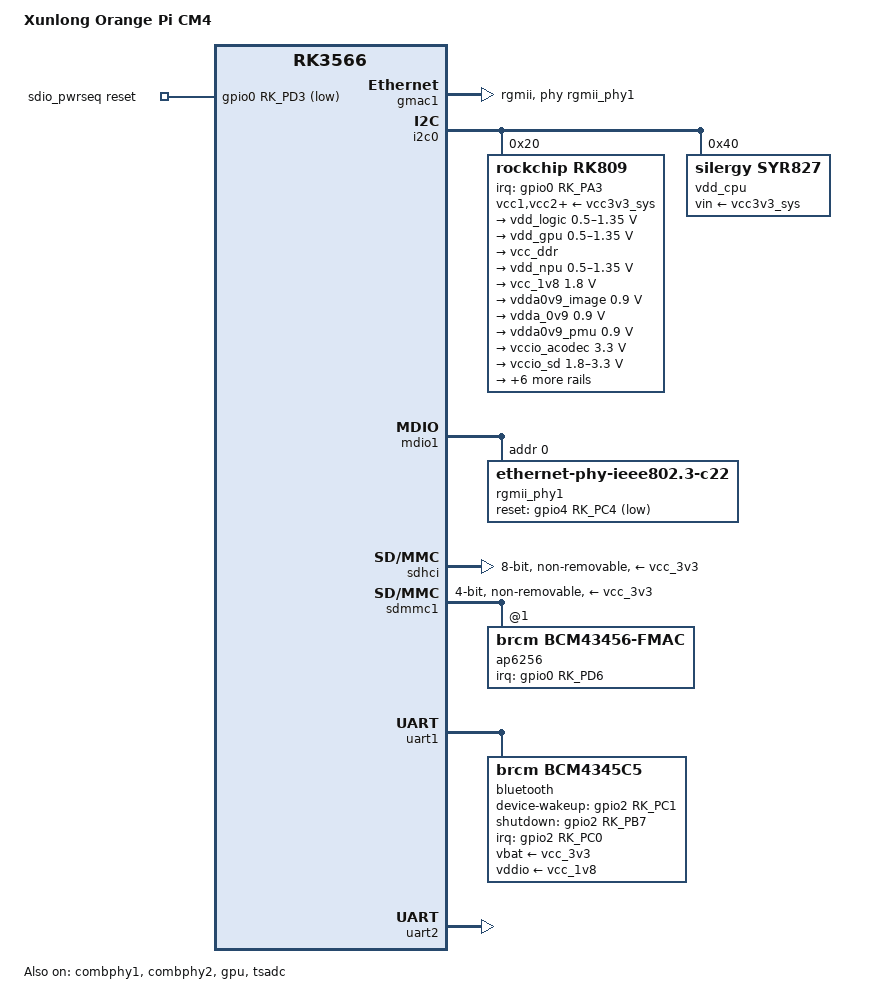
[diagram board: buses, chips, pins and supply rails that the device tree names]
// SPDX-License-Identifier: (GPL-2.0+ OR MIT)

/dts-v1/;

#include <dt-bindings/gpio/gpio.h>
#include <dt-bindings/pinctrl/rockchip.h>
#include "rk3566.dtsi"

/ {
	model = "Xunlong Orange Pi CM4";
	compatible = "xunlong,orangepi-cm4", "rockchip,rk3566";

	aliases {
		ethernet0 = &gmac1;
		mmc0 = &sdhci;
	};

	chosen {
		stdout-path = "serial2:1500000n8";
	};

	sdio_pwrseq: sdio-pwrseq {
		compatible = "mmc-pwrseq-simple";
		clocks = <&rk809 1>;
		clock-names = "ext_clock";
		pinctrl-names = "default";
		pinctrl-0 = <&wifi_reg_on>;
		post-power-on-delay-ms = <200>;
		power-off-delay-us = <20000>;
		reset-gpios = <&gpio0 RK_PD3 GPIO_ACTIVE_LOW>;
	};
};

&combphy1 {
	status = "okay";
};

&combphy2 {
	status = "okay";
};

&cpu0 {
	cpu-supply = <&vdd_cpu>;
};

&cpu1 {
	cpu-supply = <&vdd_cpu>;
};

&cpu2 {
	cpu-supply = <&vdd_cpu>;
};

&cpu3 {
	cpu-supply = <&vdd_cpu>;
};

&gmac1 {
	assigned-clocks = <&cru SCLK_GMAC1_RX_TX>, <&cru SCLK_GMAC1>;
	assigned-clock-parents = <&cru SCLK_GMAC1_RGMII_SPEED>, <&cru CLK_MAC1_2TOP>;
	clock_in_out = "input";
	phy-handle = <&rgmii_phy1>;
	phy-mode = "rgmii";
	pinctrl-names = "default";
	pinctrl-0 = <&gmac1m0_miim
		     &gmac1m0_clkinout
		     &gmac1m0_rx_bus2
		     &gmac1m0_tx_bus2
		     &gmac1m0_rgmii_clk
		     &gmac1m0_rgmii_bus>;
	tx_delay = <0x30>;
	rx_delay = <0x10>;
};

&gpu {
	mali-supply = <&vdd_gpu>;
	status = "okay";
};

&i2c0 {
	status = "okay";

	rk809: pmic@20 {
		compatible = "rockchip,rk809";
		reg = <0x20>;
		assigned-clocks = <&cru I2S1_MCLKOUT_TX>;
		assigned-clock-parents = <&cru CLK_I2S1_8CH_TX>;
		#clock-cells = <1>;
		clocks = <&cru I2S1_MCLKOUT_TX>;
		clock-names = "mclk";
		clock-output-names = "rk809-clkout1", "rk809-clkout2";
		interrupt-parent = <&gpio0>;
		interrupts = <RK_PA3 IRQ_TYPE_LEVEL_LOW>;
		pinctrl-names = "default";
		pinctrl-0 = <&pmic_int_l>, <&i2s1m0_mclk>;
		#sound-dai-cells = <0>;
		system-power-controller;
		wakeup-source;

		vcc1-supply = <&vcc3v3_sys>;
		vcc2-supply = <&vcc3v3_sys>;
		vcc3-supply = <&vcc3v3_sys>;
		vcc4-supply = <&vcc3v3_sys>;
		vcc5-supply = <&vcc3v3_sys>;
		vcc6-supply = <&vcc3v3_sys>;
		vcc7-supply = <&vcc3v3_sys>;
		vcc8-supply = <&vcc3v3_sys>;
		vcc9-supply = <&vcc3v3_sys>;

		regulators {
			vdd_logic: DCDC_REG1 {
				regulator-name = "vdd_logic";
				regulator-always-on;
				regulator-boot-on;
				regulator-initial-mode = <0x2>;
				regulator-min-microvolt = <500000>;
				regulator-max-microvolt = <1350000>;
				regulator-ramp-delay = <6001>;

				regulator-state-mem {
					regulator-off-in-suspend;
				};
			};

			vdd_gpu: DCDC_REG2 {
				regulator-name = "vdd_gpu";
				regulator-always-on;
				regulator-boot-on;
				regulator-initial-mode = <0x2>;
				regulator-min-microvolt = <500000>;
				regulator-max-microvolt = <1350000>;
				regulator-ramp-delay = <6001>;

				regulator-state-mem {
					regulator-off-in-suspend;
				};
			};

			vcc_ddr: DCDC_REG3 {
				regulator-name = "vcc_ddr";
				regulator-always-on;
				regulator-boot-on;
				regulator-initial-mode = <0x2>;

				regulator-state-mem {
					regulator-on-in-suspend;
				};
			};

			vdd_npu: DCDC_REG4 {
				regulator-name = "vdd_npu";
				regulator-initial-mode = <0x2>;
				regulator-min-microvolt = <500000>;
				regulator-max-microvolt = <1350000>;
				regulator-ramp-delay = <6001>;

				regulator-state-mem {
					regulator-off-in-suspend;
				};
			};

			vcc_1v8: DCDC_REG5 {
				regulator-name = "vcc_1v8";
				regulator-always-on;
				regulator-boot-on;
				regulator-min-microvolt = <1800000>;
				regulator-max-microvolt = <1800000>;

				regulator-state-mem {
					regulator-off-in-suspend;
				};
			};

			vdda0v9_image: LDO_REG1 {
				regulator-name = "vdda0v9_image";
				regulator-min-microvolt = <900000>;
				regulator-max-microvolt = <900000>;

				regulator-state-mem {
					regulator-off-in-suspend;
				};
			};

			vdda_0v9: LDO_REG2 {
				regulator-name = "vdda_0v9";
				regulator-always-on;
				regulator-boot-on;
				regulator-min-microvolt = <900000>;
				regulator-max-microvolt = <900000>;

				regulator-state-mem {
					regulator-off-in-suspend;
				};
			};

			vdda0v9_pmu: LDO_REG3 {
				regulator-name = "vdda0v9_pmu";
				regulator-always-on;
				regulator-boot-on;
				regulator-min-microvolt = <900000>;
				regulator-max-microvolt = <900000>;

				regulator-state-mem {
					regulator-on-in-suspend;
					regulator-suspend-microvolt = <900000>;
				};
			};

			vccio_acodec: LDO_REG4 {
				regulator-name = "vccio_acodec";
				regulator-always-on;
				regulator-boot-on;
				regulator-min-microvolt = <3300000>;
				regulator-max-microvolt = <3300000>;

				regulator-state-mem {
					regulator-off-in-suspend;
				};
			};

			vccio_sd: LDO_REG5 {
				regulator-name = "vccio_sd";
				regulator-always-on;
				regulator-boot-on;
				regulator-min-microvolt = <1800000>;
				regulator-max-microvolt = <3300000>;

				regulator-state-mem {
					regulator-off-in-suspend;
				};
			};

			vcc3v3_pmu: LDO_REG6 {
				regulator-name = "vcc3v3_pmu";
				regulator-always-on;
				regulator-boot-on;
				regulator-min-microvolt = <3300000>;
				regulator-max-microvolt = <3300000>;

				regulator-state-mem {
					regulator-on-in-suspend;
					regulator-suspend-microvolt = <3300000>;
				};
			};

			vcca_1v8: LDO_REG7 {
				regulator-name = "vcca_1v8";
				regulator-always-on;
				regulator-boot-on;
				regulator-min-microvolt = <1800000>;
				regulator-max-microvolt = <1800000>;

				regulator-state-mem {
					regulator-off-in-suspend;
				};
			};

			vcca1v8_pmu: LDO_REG8 {
				regulator-name = "vcca1v8_pmu";
				regulator-always-on;
				regulator-boot-on;
				regulator-min-microvolt = <1800000>;
				regulator-max-microvolt = <1800000>;

				regulator-state-mem {
					regulator-on-in-suspend;
					regulator-suspend-microvolt = <1800000>;
				};
			};

			vcca1v8_image: LDO_REG9 {
				regulator-name = "vcca1v8_image";
				regulator-min-microvolt = <1800000>;
				regulator-max-microvolt = <1800000>;

				regulator-state-mem {
					regulator-off-in-suspend;
				};
			};

			vcc_3v3: SWITCH_REG1 {
				regulator-name = "vcc_3v3";
				regulator-always-on;
				regulator-boot-on;

				regulator-state-mem {
					regulator-off-in-suspend;
				};
			};

			vcc3v3_sd: SWITCH_REG2 {
				regulator-name = "vcc3v3_sd";
				regulator-always-on;
				regulator-boot-on;

				regulator-state-mem {
					regulator-off-in-suspend;
				};
			};
		};

		codec {
			rockchip,mic-in-differential;
		};
	};

	vdd_cpu: regulator@40 {
		compatible = "silergy,syr827";
		reg = <0x40>;
		fcs,suspend-voltage-selector = <1>;
		regulator-name = "vdd_cpu";
		regulator-always-on;
		regulator-boot-on;
		regulator-min-microvolt = <830000>;
		regulator-max-microvolt = <1200000>;
		regulator-ramp-delay = <2300>;
		vin-supply = <&vcc3v3_sys>;

		regulator-state-mem {
			regulator-off-in-suspend;
		};
	};
};

&mdio1 {
	rgmii_phy1: ethernet-phy@1 {
		compatible = "ethernet-phy-ieee802.3-c22";
		reg = <0>;
		reset-assert-us = <50000>;
		reset-deassert-us = <200000>;
		reset-gpios = <&gpio4 RK_PC4 GPIO_ACTIVE_LOW>;
	};
};

&pinctrl {
	bluetooth {
		bt_reg_on: bt-reg-on {
			rockchip,pins = <2 RK_PB7 RK_FUNC_GPIO &pcfg_pull_none>;
		};

		bt_wake_host: bt-wake-host {
			rockchip,pins = <2 RK_PC0 RK_FUNC_GPIO &pcfg_pull_down>;
		};

		host_wake_bt: host-wake-bt {
			rockchip,pins = <2 RK_PC1 RK_FUNC_GPIO &pcfg_pull_none>;
		};
	};

	pmic {
		pmic_int_l: pmic-int-l {
			rockchip,pins = <0 RK_PA3 RK_FUNC_GPIO &pcfg_pull_up>;
		};
	};

	wifi {
		wifi_reg_on: wifi-reg-on {
			rockchip,pins = <0 RK_PD3 RK_FUNC_GPIO &pcfg_pull_none>;
		};

		wifi_wake_host: wifi-wake-host {
			rockchip,pins = <0 RK_PD6 RK_FUNC_GPIO &pcfg_pull_down>;
		};
	};
};

&sdhci {
	bus-width = <8>;
	cap-mmc-highspeed;
	max-frequency = <200000000>;
	mmc-hs200-1_8v;
	non-removable;
	pinctrl-names = "default";
	pinctrl-0 = <&emmc_bus8 &emmc_clk &emmc_cmd &emmc_datastrobe>;
	vmmc-supply = <&vcc_3v3>;
	vqmmc-supply = <&vcc_1v8>;
	status = "okay";
};

/* WIFI part of the AP6256 connected with SDIO */
&sdmmc1 {
	#address-cells = <1>;
	#size-cells = <0>;
	bus-width = <4>;
	cap-sd-highspeed;
	cap-sdio-irq;
	disable-wp;
	keep-power-in-suspend;
	mmc-pwrseq = <&sdio_pwrseq>;
	no-mmc;
	no-sd;
	non-removable;
	pinctrl-names = "default";
	pinctrl-0 = <&sdmmc1_bus4 &sdmmc1_clk &sdmmc1_cmd>;
	sd-uhs-sdr104;
	vmmc-supply = <&vcc_3v3>;
	vqmmc-supply = <&vcc_1v8>;
	status = "okay";

	ap6256: wifi@1 {
		compatible = "brcm,bcm43456-fmac", "brcm,bcm4329-fmac";
		reg = <1>;
		interrupt-parent = <&gpio0>;
		interrupts = <RK_PD6 IRQ_TYPE_LEVEL_HIGH>;
		interrupt-names = "host-wake";
		pinctrl-names = "default";
		pinctrl-0 = <&wifi_wake_host>;
	};
};

&tsadc {
	rockchip,hw-tshut-mode = <1>;
	rockchip,hw-tshut-polarity = <0>;
	status = "okay";
};

/* BT part of the AP6256 connected with UART */
&uart1 {
	dma-names = "tx", "rx";
	pinctrl-names = "default";
	pinctrl-0 = <&uart1m0_xfer &uart1m0_ctsn &uart1m0_rtsn>;
	uart-has-rtscts;
	status = "okay";

	bluetooth {
		compatible = "brcm,bcm4345c5";
		clocks = <&rk809 1>;
		clock-names = "lpo";
		interrupt-parent = <&gpio2>;
		interrupts = <RK_PC0 IRQ_TYPE_LEVEL_HIGH>;
		interrupt-names = "host-wakeup";
		device-wakeup-gpios = <&gpio2 RK_PC1 GPIO_ACTIVE_HIGH>;
		shutdown-gpios = <&gpio2 RK_PB7 GPIO_ACTIVE_HIGH>;
		pinctrl-names = "default";
		pinctrl-0 = <&bt_reg_on &bt_wake_host &host_wake_bt>;
		vbat-supply = <&vcc_3v3>;
		vddio-supply = <&vcc_1v8>;
	};
};

&uart2 {
	status = "okay";
};
